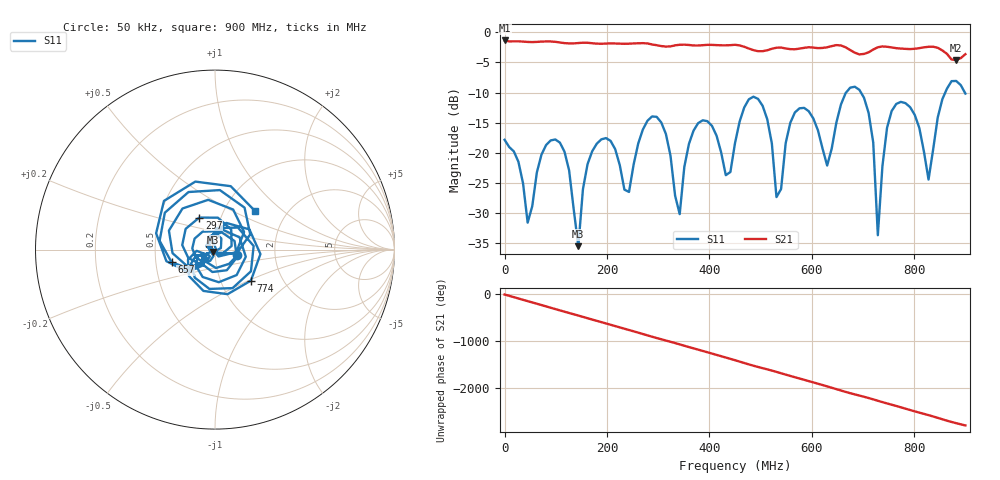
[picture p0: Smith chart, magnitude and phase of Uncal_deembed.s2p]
# HZ S RI R 50
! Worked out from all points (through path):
!   101 points, 50 kHz to 900 MHz, reference 50 ohm
!   highest |S21| = -1.37 dB at 50 kHz (marker M1); lowest = -4.6 dB at 882 MHz (marker M2)
!   lowest |S11| = -35.5 dB at 144 MHz (marker M3), VSWR 1.03, Z = 49 - j1.36 ohm
!   |S11| at or under -10 dB: start of sweep to 667 MHz; 696 MHz to 860.7 MHz (164.7 MHz wide, 21.2 % of centre); 898.8689 MHz to end of sweep
!   S12 and S22 are empty: the file has one direction only
!   S11 on the Smith chart (normalised r, x): 50 kHz: 1.28, -0.08; 297 MHz: 0.79, +0.29; 657 MHz: 0.61, -0.09; 774 MHz: 1.39, -0.52; 900 MHz: 1.38, +0.66
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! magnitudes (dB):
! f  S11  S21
! 50 kHz  -17.8  -1.4
! 45.05 MHz  -31.6  -1.6
! 108 MHz  -18.3  -1.7
! 144 MHz  -35.5  -1.8
! 153 MHz  -26.0  -1.7
! 297 MHz  -14.0  -2.2
! 306 MHz  -15.0  -2.3
! 342 MHz  -30.2  -2.1
! 378 MHz  -15.1  -2.2
! 450 MHz  -18.4  -2.1
! 495 MHz  -11.1  -3.2
! 531 MHz  -27.3  -2.6
! 603 MHz  -14.3  -2.6
! 630 MHz  -22.1  -2.5
! 657 MHz  -12.0  -2.2
! 711 MHz  -13.4  -3.3
! 729 MHz  -33.7  -2.5
! 756 MHz  -13.1  -2.5
! 774 MHz  -11.6  -2.7
! 828 MHz  -24.4  -2.4
! 882 MHz  -8.1  -4.6
! 900 MHz  -10.2  -3.6
